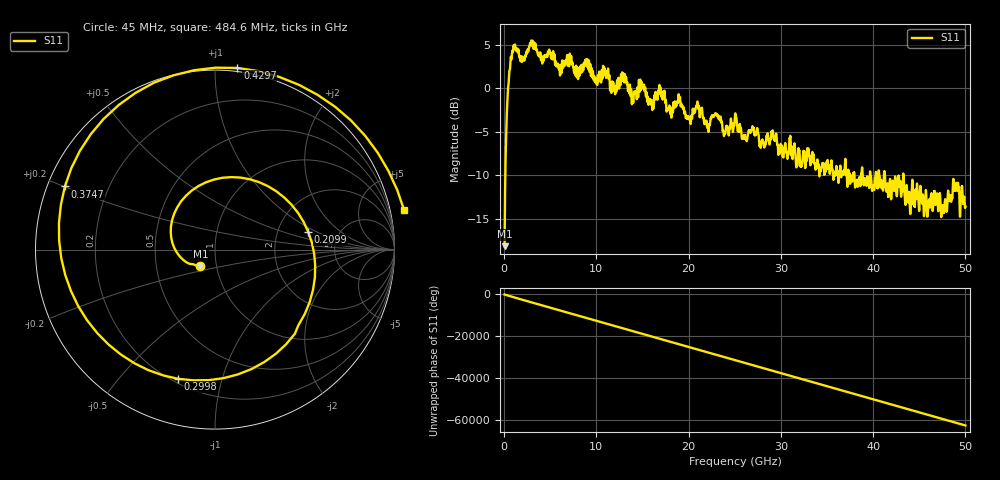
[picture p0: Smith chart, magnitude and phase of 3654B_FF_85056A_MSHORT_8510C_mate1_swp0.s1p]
!Created with skrf (http://scikit-rf.org).
# Hz S RI R 50.0
!freq ReS11 ImS11
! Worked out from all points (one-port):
!   10001 points, 45 MHz to 50 GHz, reference 50 ohm
!   lowest |S11| = -18.1 dB at 45 MHz (marker M1), VSWR 1.28, Z = 41.8 - j7.92 ohm
!   |S11| at or under -10 dB: 38.86 GHz to 39.63 GHz (771.5 MHz wide, 1.97 % of centre); 41.28 GHz to 43.24 GHz (1.962 GHz wide, 4.64 % of centre); 43.29 GHz to end of sweep (the widest 3 of 17)
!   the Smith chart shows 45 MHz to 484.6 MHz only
!   S11 on the Smith chart (normalised r, x): 45 MHz: 0.84, -0.16; 209.9 MHz: 3.00, +0.82; 299.8 MHz: 0.22, -0.73; 374.7 MHz: 0.05, +0.20; 429.7 MHz: -0.02, +1.13; 484.6 MHz: -3.08, +8.58
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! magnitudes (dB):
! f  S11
! 45 MHz  -18.1
! 209.9 MHz  -5.5
! 299.8 MHz  -2.5
! 374.7 MHz  -0.8
! 429.7 MHz  0.2
! 484.6 MHz  0.6
! 794.3 MHz  3.3
! 1.174 GHz  5.0
! 1.978 GHz  3.6
! 3.027 GHz  4.9
! 6.289 GHz  3.2
! 12.53 GHz  1.1
! 13.92 GHz  -0.7
! 14.96 GHz  0.0
! 15.99 GHz  -1.5
! 17.03 GHz  -0.9
! 17.94 GHz  -2.2
! 18.78 GHz  -1.5
! 20.92 GHz  -1.7
! 22.07 GHz  -4.3
! 25.02 GHz  -3.1
! 26.08 GHz  -5.4
! 31.27 GHz  -8.1
! 37.51 GHz  -11.0
! 43.76 GHz  -11.9
! 47.54 GHz  -13.5
! 48.88 GHz  -11.7
! 50 GHz  -13.6
